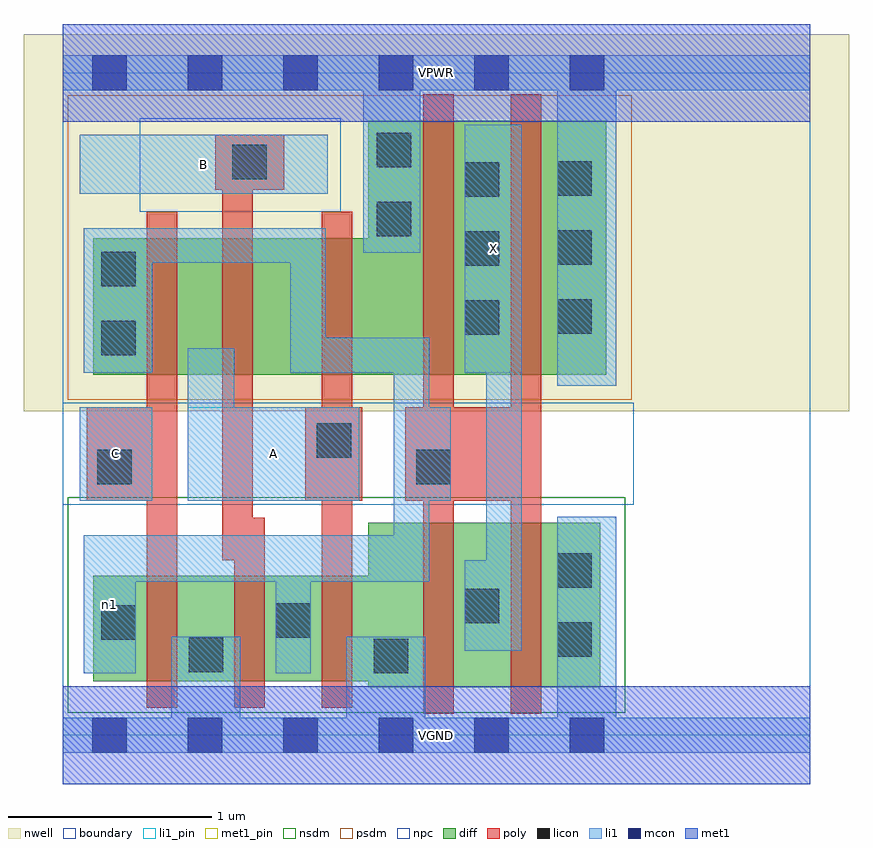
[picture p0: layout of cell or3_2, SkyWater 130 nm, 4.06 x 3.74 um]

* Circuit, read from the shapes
.subckt or3_2 A B C VGND VPWR X n1
XM1 VGND C n1 VSUBS sky130_fd_pr__nfet_01v8 w=0.52 l=0.15
XM2 n1 B VGND VSUBS sky130_fd_pr__nfet_01v8 w=0.52 l=0.15
XM3 VGND A n1 VSUBS sky130_fd_pr__nfet_01v8 w=0.52 l=0.15
XM4 X n1 VGND VSUBS sky130_fd_pr__nfet_01v8 w=0.81 l=0.15 m=2
XM5 n2 C n1 n3 sky130_fd_pr__pfet_01v8 w=0.67 l=0.15
XM6 n4 B n2 n3 sky130_fd_pr__pfet_01v8 w=0.67 l=0.15
XM7 VPWR A n4 n3 sky130_fd_pr__pfet_01v8 w=0.67 l=0.15
XM8 X n1 VPWR n3 sky130_fd_pr__pfet_01v8 w=1.25 l=0.15 m=2
.ends

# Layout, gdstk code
import gdstk
lib = gdstk.Library(unit=1e-6, precision=1e-09)
def R(c, l, rs):  # rectangles x0, y0, x1, y1
    for r in rs: c.add(gdstk.rectangle(r[:2], r[2:], *l))
def A(c, l, x, y, w, h, nx, ny, dx, dy):  # array of equal rectangles
    R(c, l, [(x+i*dx, y+j*dy, x+i*dx+w, y+j*dy+h) for i in range(nx) for j in range(ny)])
nwell = (64, 20)
diff = (65, 20)
poly = (66, 20)
licon = (66, 44)
li1_pin = (67, 16)
li1 = (67, 20)
mcon = (67, 44)
met1_pin = (68, 16)
met1 = (68, 20)
nsdm = (93, 44)
psdm = (94, 20)
npc = (95, 20)
boundary = (235, 4)

or3_2 = lib.new_cell('or3_2')
R(or3_2, nwell, [(-0.19,1.595,3.87,3.45), (0,1.595,3.68,3.45)])
R(or3_2, diff, [(1.505,0.235,2.645,1.045), (0.15,0.265,2.645,0.785), (0.15,1.775,2.675,2.445), (1.505,1.775,2.675,3.025)])
R(or3_2, poly, [(1.775,0.105,1.925,3.155), (2.205,0.105,2.355,3.155), (0.415,0.135,0.565,2.575), (0.845,0.135,0.995,1.07), (1.275,0.135,1.425,2.575), (0.785,0.86,0.935,2.955), (0.12,1.155,0.565,1.615), (1.195,1.155,1.475,1.615), (1.685,1.155,2.355,1.615), (0.75,2.685,1.09,2.955)])
A(or3_2, licon, 1.98, 1.97, 0.17, 0.17, 1, 3, 0, 0.34)
A(or3_2, licon, 2.435, 1.975, 0.17, 0.17, 1, 3, 0, 0.34)
R(or3_2, licon, [(1.53,0.305,1.7,0.475), (0.62,0.31,0.79,0.48), (2.435,0.385,2.605,0.555), (0.19,0.47,0.36,0.64), (1.05,0.48,1.22,0.65), (1.98,0.55,2.15,0.72), (2.435,0.725,2.605,0.895), (0.17,1.235,0.34,1.405), (1.74,1.235,1.91,1.405), (1.25,1.365,1.42,1.535), (0.19,1.87,0.36,2.04), (0.19,2.21,0.36,2.38), (1.545,2.455,1.715,2.625), (0.835,2.735,1.005,2.905), (1.545,2.795,1.715,2.965)])
R(or3_2, li1_pin, [(0.085,1.155,0.44,1.615), (0.615,1.155,1.46,1.615), (1.98,1.785,2.26,3.005), (0.085,2.665,1.305,2.955)])
R(or3_2, li1, [(0,-0.085,3.68,0.085), (0.535,-0.085,0.875,0.485), (1.395,-0.085,1.785,0.485), (2.435,-0.085,2.725,1.075), (0.105,0.305,0.36,0.985), (1.05,0.305,1.22,0.985), (1.98,0.415,2.26,0.86), (2.085,0.415,2.26,3.005), (0.105,0.755,1.805,0.985), (1.63,0.755,1.805,1.955), (0.085,1.155,0.44,1.615), (0.615,1.155,1.46,1.615), (0.615,1.155,0.845,1.905), (1.63,1.155,1.91,1.615), (2.435,1.72,2.725,3.345), (0.105,1.785,0.44,2.495), (1.12,1.785,1.805,1.955), (1.12,1.785,1.295,2.495), (1.98,1.785,2.26,3.005), (0.105,2.325,1.295,2.495), (1.48,2.375,1.76,3.345), (0.085,2.665,1.305,2.955), (0,3.175,3.68,3.345)])
A(or3_2, mcon, 0.145, -0.085, 0.17, 0.17, 6, 2, 0.47, 3.26)
R(or3_2, met1_pin, [(0,-0.24,3.68,0.24), (0,3.02,3.68,3.5)])
R(or3_2, met1, [(0,-0.24,3.68,0.24), (0,3.02,3.68,3.5)])
R(or3_2, nsdm, [(0.025,0.11,2.77,1.17)])
R(or3_2, psdm, [(0.025,1.65,2.8,3.15)])
R(or3_2, npc, [(0,1.135,2.81,1.635), (0.38,2.575,1.37,3.035)])
R(or3_2, boundary, [(0,0,3.68,3.26)])
or3_2.add(gdstk.Label('A', (1.037,1.385), layer=67, texttype=5))
or3_2.add(gdstk.Label('B', (0.695,2.81), layer=67, texttype=5))
or3_2.add(gdstk.Label('C', (0.262,1.385), layer=67, texttype=5))
or3_2.add(gdstk.Label('X', (2.12,2.395), layer=67, texttype=5))
or3_2.add(gdstk.Label('n1', (0.232,0.645), layer=67, texttype=5))
or3_2.add(gdstk.Label('VPWR', (1.84,3.26), layer=68, texttype=5))
or3_2.add(gdstk.Label('VGND', (1.84,0), layer=68, texttype=5))
or3_2.add(gdstk.Label('A', (1.037,1.385), layer=67, texttype=16))
or3_2.add(gdstk.Label('B', (0.695,2.81), layer=67, texttype=16))
or3_2.add(gdstk.Label('C', (0.262,1.385), layer=67, texttype=16))
or3_2.add(gdstk.Label('X', (2.12,2.395), layer=67, texttype=16))
or3_2.add(gdstk.Label('VPWR', (1.84,3.26), layer=68, texttype=16))
or3_2.add(gdstk.Label('VGND', (1.84,0), layer=68, texttype=16))

lib.write_gds('or3_2.gds')
